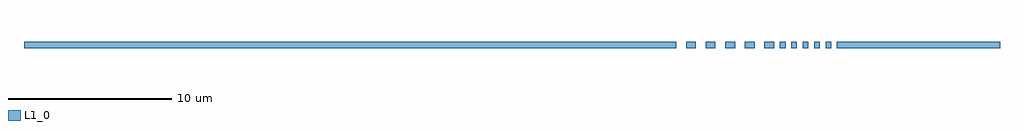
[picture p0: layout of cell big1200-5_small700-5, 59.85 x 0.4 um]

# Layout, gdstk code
import gdstk
lib = gdstk.Library(unit=1e-6, precision=1e-09)
def R(c, l, rs):  # rectangles x0, y0, x1, y1
    for r in rs: c.add(gdstk.rectangle(r[:2], r[2:], *l))
def A(c, l, x, y, w, h, nx, ny, dx, dy):  # array of equal rectangles
    R(c, l, [(x+i*dx, y+j*dy, x+i*dx+w, y+j*dy+h) for i in range(nx) for j in range(ny)])
L1_0 = (1, 0)

big1200_5_small700_5 = lib.new_cell('big1200-5_small700-5')
A(big1200_5_small700_5, L1_0, 0.6, 0, 0.6, 0.4, 5, 1, 1.2, 0)
A(big1200_5_small700_5, L1_0, 6.35, 0, 0.35, 0.4, 5, 1, 0.7, 0)
R(big1200_5_small700_5, L1_0, [(-40,0,0,0.4), (9.85,0,19.85,0.4)])

lib.write_gds('big1200-5_small700-5.gds')
